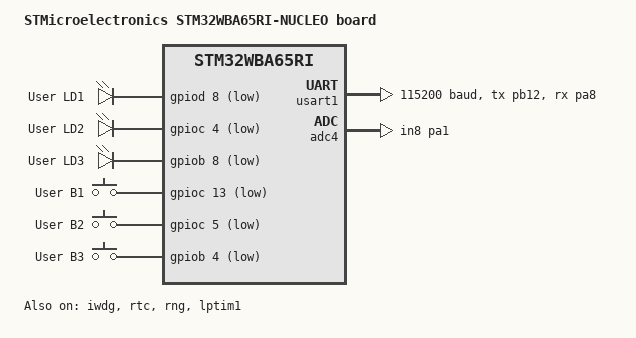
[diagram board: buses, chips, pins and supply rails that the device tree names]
/*
 * Copyright (c)  2024 STMicroelectronics
 *
 * SPDX-License-Identifier: Apache-2.0
 */

/dts-v1/;
#include <st/wba/stm32wba65Xi.dtsi>
#include <st/wba/stm32wba65rivx-pinctrl.dtsi>
#include "arduino_r3_connector.dtsi"
#include <zephyr/dt-bindings/input/input-event-codes.h>

/ {
	model = "STMicroelectronics STM32WBA65RI-NUCLEO board";
	compatible = "st,stm32wba65ri-nucleo";

	#address-cells = <1>;
	#size-cells = <1>;

	chosen {
		zephyr,bt-c2h-uart = &usart1;
		zephyr,console = &usart1;
		zephyr,shell-uart = &usart1;
		zephyr,sram = &sram0;
		zephyr,flash = &flash0;
		zephyr,code-partition = &slot0_partition;
	};

	leds: leds {
		compatible = "gpio-leds";
		blue_led_1: led_0 {
			gpios = <&gpiod 8 GPIO_ACTIVE_LOW>;
			label = "User LD1";
		};
		green_led_2: led_1 {
			gpios = <&gpioc 4 GPIO_ACTIVE_LOW>;
			label = "User LD2";
		};
		red_led_3: led_2 {
			gpios = <&gpiob 8 GPIO_ACTIVE_LOW>;
			label = "User LD3";
		};
	};

	gpio_keys {
		compatible = "gpio-keys";
		user_button_1: button_0 {
			label = "User B1";
			gpios = <&gpioc 13 (GPIO_ACTIVE_LOW | GPIO_PULL_UP)>;
			zephyr,code = <INPUT_KEY_0>;
		};
		user_button_2: button_1 {
			label = "User B2";
			gpios = <&gpioc 5 (GPIO_ACTIVE_LOW | GPIO_PULL_UP)>;
			zephyr,code = <INPUT_KEY_1>;
		};
		user_button_3: button_2 {
			label = "User B3";
			gpios = <&gpiob 4 (GPIO_ACTIVE_LOW | GPIO_PULL_UP)>;
			zephyr,code = <INPUT_KEY_2>;
		};
	};

	aliases {
		led0 = &blue_led_1;
		led1 = &green_led_2;
		led2 = &red_led_3;
		sw0 = &user_button_1;
		sw1 = &user_button_2;
		sw2 = &user_button_3;
		mcuboot-led0 = &blue_led_1;
		mcuboot-button0 = &user_button_1;
	};
};

&clk_lsi {
	status = "okay";
};

&clk_lse {
	status = "okay";
};

&clk_hse {
	hse-div2;
	status = "okay";
};

&clk_hsi {
	status = "okay";
};

&rcc {
	clocks = <&clk_hse>;
	clock-frequency = <DT_FREQ_M(16)>;
	ahb-prescaler = <1>;
	ahb5-prescaler = <2>;
	apb1-prescaler = <1>;
	apb2-prescaler = <2>;
	apb7-prescaler = <1>;
};

&iwdg {
	status = "okay";
};

&rtc {
	status = "okay";
	clocks = <&rcc STM32_CLOCK_BUS_APB7 0x00200000>,
			<&rcc STM32_SRC_LSE RTC_SEL(1)>;
	prescaler = <32768>;
};

&usart1 {
	clocks = <&rcc STM32_CLOCK_BUS_APB2 0x00004000>,
		 <&rcc STM32_SRC_HSI16 USART1_SEL(2)>;
	pinctrl-0 = <&usart1_tx_pb12 &usart1_rx_pa8>;
	pinctrl-1 = <&analog_pb12 &analog_pa8>;
	pinctrl-names = "default", "sleep";
	current-speed = <115200>;
	status = "okay";
};

&rng {
	status = "okay";
};

&adc4 {
	pinctrl-0 = <&adc4_in8_pa1>;
	pinctrl-names = "default";
	st,adc-clock-source = "ASYNC";
	st,adc-prescaler = <4>;
	status = "okay";
};

stm32_lp_tick_source: &lptim1 {
	clocks = <&rcc STM32_CLOCK_BUS_APB7 0x00000800>,
		 <&rcc STM32_SRC_LSE LPTIM1_SEL(3)>;
	status = "okay";
};

&rng {
	status = "okay";
};

&flash0 {
	partitions {
		compatible = "fixed-partitions";
		#address-cells = <1>;
		#size-cells = <1>;

		boot_partition: partition@0 {
			label = "mcuboot";
			reg = <0x00000000 DT_SIZE_K(128)>;
		};
		slot0_partition: partition@20000 {
			label = "image-0";
			reg = <0x00020000 DT_SIZE_K(800)>;
		};
		slot1_partition: partition@e8000 {
			label = "image-1";
			reg = <0x000e8000 DT_SIZE_K(800)>;
		};
		scratch_partition: partition@1b0000 {
			label = "image-scratch";
			reg = <0x001b0000 DT_SIZE_K(64)>;
		};
		storage_partition: partition@1c0000 {
			label = "storage";
			reg = <0x001c0000 DT_SIZE_K(256)>;
		};
	};
};
